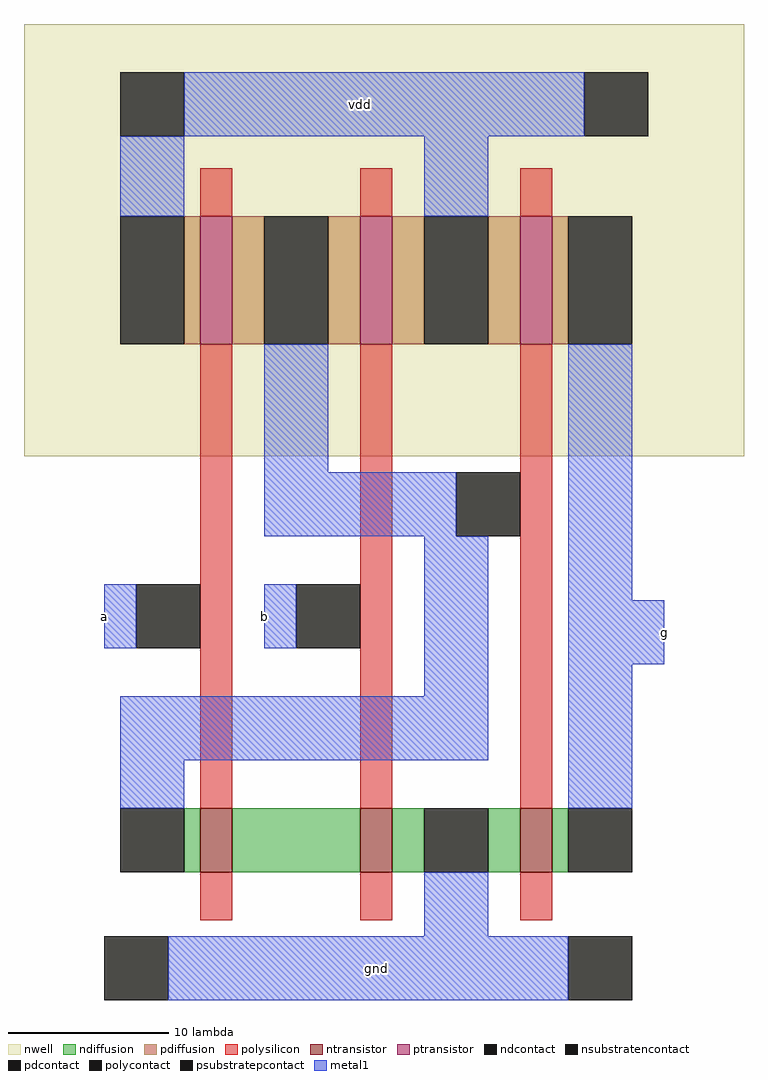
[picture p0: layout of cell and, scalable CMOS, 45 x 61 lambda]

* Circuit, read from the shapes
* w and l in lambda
.subckt and a b g gnd vdd
M1 n1 a n2 gnd nfet w=4 l=2
M2 gnd b n1 gnd nfet w=4 l=2
M3 g n2 gnd gnd nfet w=4 l=2
M4 n2 a vdd vdd pfet w=8 l=2
M5 vdd b n2 vdd pfet w=8 l=2
M6 g n2 vdd vdd pfet w=8 l=2
.ends

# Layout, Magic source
magic
tech scmos
<< nwell >>
rect -27 0 18 27
<< ntransistor >>
rect -16 -26 -14 -22
rect -6 -26 -4 -22
rect 4 -26 6 -22
<< ptransistor >>
rect -16 7 -14 15
rect -6 7 -4 15
rect 4 7 6 15
<< ndiffusion >>
rect -17 -26 -16 -22
rect -14 -26 -6 -22
rect -4 -26 -2 -22
rect 2 -26 4 -22
rect 6 -26 7 -22
<< pdiffusion >>
rect -17 7 -16 15
rect -14 7 -12 15
rect -8 7 -6 15
rect -4 7 -2 15
rect 2 7 4 15
rect 6 7 7 15
<< ndcontact >>
rect -21 -26 -17 -22
rect -2 -26 2 -22
rect 7 -26 11 -22
<< pdcontact >>
rect -21 7 -17 15
rect -12 7 -8 15
rect -2 7 2 15
rect 7 7 11 15
<< psubstratepcontact >>
rect -22 -34 -18 -30
rect 7 -34 11 -30
<< nsubstratencontact >>
rect -21 20 -17 24
rect 8 20 12 24
<< polysilicon >>
rect -16 15 -14 18
rect -6 15 -4 18
rect 4 15 6 18
rect -16 -22 -14 7
rect -6 -22 -4 7
rect 4 -22 6 7
rect -16 -29 -14 -26
rect -6 -29 -4 -26
rect 4 -29 6 -26
<< polycontact >>
rect -20 -12 -16 -8
rect -10 -12 -6 -8
rect 0 -5 4 -1
<< metal1 >>
rect -17 20 8 24
rect -21 15 -17 20
rect -2 15 2 20
rect -12 -1 -8 7
rect -12 -5 0 -1
rect -22 -12 -20 -8
rect -12 -12 -10 -8
rect -2 -15 2 -5
rect -21 -19 2 -15
rect 7 -9 11 7
rect 7 -13 13 -9
rect -21 -22 -17 -19
rect 7 -22 11 -13
rect -2 -30 2 -26
rect -18 -34 7 -30
<< labels >>
rlabel metal1 -6 22 -6 22 5 vdd
rlabel metal1 -5 -32 -5 -32 1 gnd
rlabel metal1 13 -13 13 -9 7 g
rlabel metal1 -22 -12 -22 -8 3 a
rlabel metal1 -12 -12 -12 -8 1 b
<< end >>
